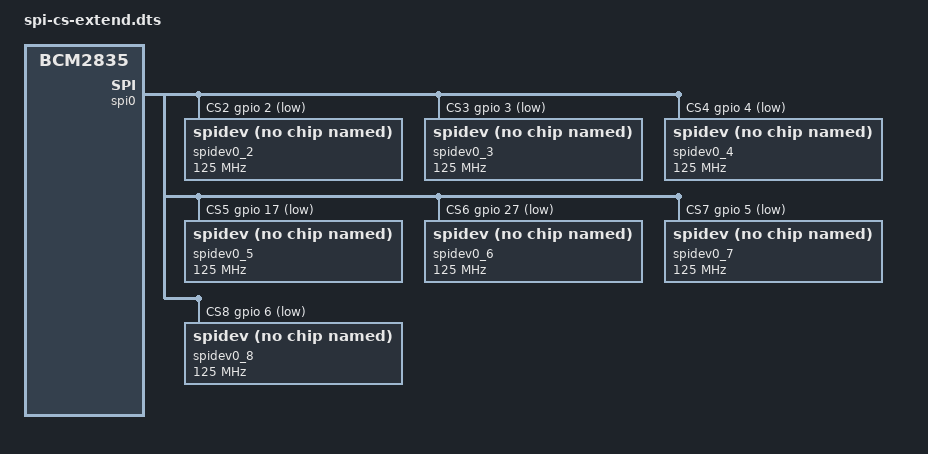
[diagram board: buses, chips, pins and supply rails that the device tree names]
/dts-v1/;
/plugin/;


/ {
	compatible = "brcm,bcm2835";

	fragment@0 {
		target = <&spi0_cs_pins>;
		frag0: __overlay__ {
			brcm,pins = <8 7 2 3 4 17 27 5 6>;
		};
	};

	fragment@1 {
		target = <&spi0>;
		frag1: __overlay__ {
			#address-cells = <1>;
			#size-cells = <0>;

			cs-gpios = <&gpio 8 1>, <&gpio 7 1> ,<&gpio 2 1>, <&gpio 3 1>, <&gpio 4 1>, <&gpio 17 1>, <&gpio 27 1>, <&gpio 5 1>, <&gpio 6 1>;
			status = "okay";

			spidev0_2: spidev@2 {
				compatible = "spidev";
				reg = <2>;
				#address-cells = <1>;
				#size-cells = <0>;
				spi-max-frequency = <125000000>;
			};

			spidev0_3: spidev@3 {
				compatible = "spidev";
				reg = <3>;
				#address-cells = <1>;
				#size-cells = <0>;
				spi-max-frequency = <125000000>;
			};

			spidev0_4: spidev@4 {
				compatible = "spidev";
				reg = <4>;
				#address-cells = <1>;
				#size-cells = <0>;
				spi-max-frequency = <125000000>;
			};

            spidev0_5: spidev@5 {
				compatible = "spidev";
				reg = <5>;
				#address-cells = <1>;
				#size-cells = <0>;
				spi-max-frequency = <125000000>;
			};

            spidev0_6: spidev@6 {
				compatible = "spidev";
				reg = <6>;
				#address-cells = <1>;
				#size-cells = <0>;
				spi-max-frequency = <125000000>;
			};

            spidev0_7: spidev@7 {
				compatible = "spidev";
				reg = <7>;
				#address-cells = <1>;
				#size-cells = <0>;
				spi-max-frequency = <125000000>;
			};

            spidev0_8: spidev@8 {
				compatible = "spidev";
				reg = <8>;
				#address-cells = <1>;
				#size-cells = <0>;
				spi-max-frequency = <125000000>;
			};
		};
	};
};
